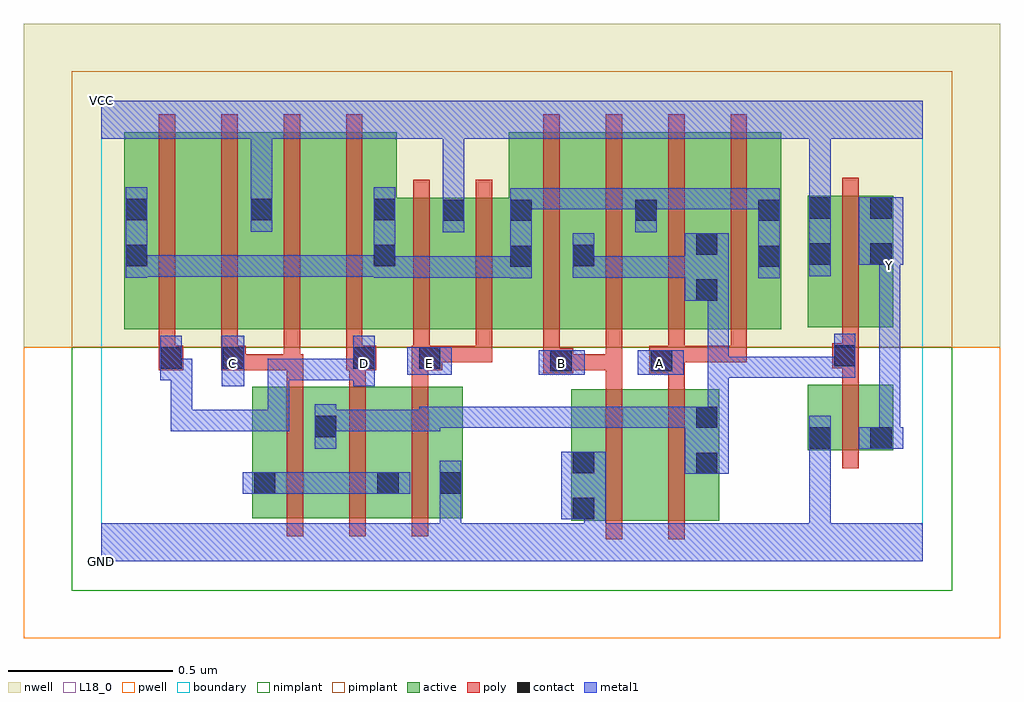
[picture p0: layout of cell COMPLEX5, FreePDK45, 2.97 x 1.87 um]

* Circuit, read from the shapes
.subckt COMPLEX5 A B C D E GND VCC Y
M1 n1 C n2 VSUBS nfet w=0.4u l=0.05u
M2 n2 D n1 VSUBS nfet w=0.4u l=0.05u
M3 GND E n2 VSUBS nfet w=0.4u l=0.05u
M4 n3 B GND VSUBS nfet w=0.4u l=0.05u
M5 n1 A n3 VSUBS nfet w=0.4u l=0.05u
M6 Y n1 GND VSUBS nfet w=0.2u l=0.05u
M7 n4 D n5 n6 pfet w=0.6u l=0.05u
M8 VCC C n4 n6 pfet w=0.6u l=0.05u
M9 n7 C VCC n6 pfet w=0.6u l=0.05u
M10 n5 D n7 n6 pfet w=0.6u l=0.05u
M11 VCC E n5 n6 pfet w=0.4u l=0.05u m=2
M12 n1 B n5 n6 pfet w=0.6u l=0.05u m=2
M13 n1 A n5 n6 pfet w=0.6u l=0.05u m=2
M14 Y n1 VCC n6 pfet w=0.4u l=0.05u
.ends

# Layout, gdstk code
import gdstk
lib = gdstk.Library(unit=1e-6, precision=1e-09)
def R(c, l, rs):  # rectangles x0, y0, x1, y1
    for r in rs: c.add(gdstk.rectangle(r[:2], r[2:], *l))
def A(c, l, x, y, w, h, nx, ny, dx, dy):  # array of equal rectangles
    R(c, l, [(x+i*dx, y+j*dy, x+i*dx+w, y+j*dy+h) for i in range(nx) for j in range(ny)])
active = (1, 0)
pwell = (2, 0)
nwell = (3, 0)
nimplant = (4, 0)
pimplant = (5, 0)
poly = (9, 0)
contact = (10, 0)
metal1 = (11, 0)
L18_0 = (18, 0)
boundary = (235, 0)

complex5 = lib.new_cell('COMPLEX5')
R(complex5, active, [(1.43,0.122,1.655,0.522), (1.43,0.122,1.505,0.522), (1.655,0.122,1.88,0.522), (0.46,0.13,0.72,0.53), (0.645,0.13,0.91,0.53), (0.835,0.13,1.1,0.53), (1.025,0.13,1.1,0.53), (0.46,0.195,0.535,0.53), (0.645,0.195,0.72,0.492), (0.835,0.195,0.91,0.492), (1.805,0.195,1.88,0.522), (2.15,0.337,2.225,0.537), (2.15,0.337,2.41,0.537), (2.335,0.337,2.41,0.537), (0.07,0.705,0.295,1.305), (0.07,0.705,0.175,1.2), (0.295,0.705,0.525,1.305), (0.45,0.705,0.675,1.305), (0.675,0.705,0.9,1.305), (0.825,0.705,0.9,1.2), (0.825,0.705,1.11,1.105), (1.035,0.705,1.315,1.105), (1.24,0.705,1.315,1.2), (1.24,0.705,1.505,1.305), (1.43,0.705,1.695,1.305), (1.43,0.705,1.505,1.07), (1.62,0.705,1.88,1.305), (1.805,0.705,2.07,1.305), (1.805,0.705,1.88,1.07), (1.995,0.705,2.07,1.2), (0.45,0.707,0.525,1.305), (1.62,0.707,1.695,1.2), (2.15,0.712,2.225,1.112), (2.15,0.712,2.41,1.112), (2.335,0.712,2.41,1.112), (1.035,0.802,1.11,1.105)])
R(complex5, pwell, [(-0.235,-0.235,2.735,0.65)])
R(complex5, nwell, [(-0.235,0.65,2.735,1.635)])
R(complex5, nimplant, [(-0.09,-0.09,2.59,0.65)])
R(complex5, pimplant, [(-0.09,0.65,2.59,1.49)])
A(complex5, poly, 0.565, 0.075, 0.05, 0.51, 3, 1, 0.19, 0)
A(complex5, poly, 0.565, 0.535, 0.05, 0.095, 3, 1, 0.19, 0)
A(complex5, poly, 0.175, 0.65, 0.05, 0.71, 4, 1, 0.19, 0)
A(complex5, poly, 1.345, 0.65, 0.05, 0.71, 4, 1, 0.19, 0)
R(complex5, poly, [(1.535,0.067,1.585,0.577), (1.725,0.067,1.775,0.577), (2.255,0.282,2.305,0.592), (1.535,0.527,1.585,0.63), (1.725,0.527,1.775,0.622), (2.255,0.542,2.305,0.637), (1.345,0.572,1.437,0.647), (1.667,0.572,1.775,0.655), (0.175,0.58,0.25,0.655), (0.365,0.58,0.44,0.655), (0.39,0.58,0.44,0.63), (0.39,0.58,0.44,0.63), (0.39,0.58,0.605,0.63), (0.555,0.58,0.605,0.7), (0.555,0.58,0.615,0.63), (0.745,0.58,0.837,0.655), (0.945,0.58,1.037,0.655), (1.387,0.58,1.585,0.63), (1.535,0.58,1.585,0.63), (1.535,0.58,1.585,0.63), (1.535,0.58,1.585,0.63), (1.535,0.58,1.585,0.7), (2.225,0.587,2.305,0.662), (1.345,0.597,1.395,0.7), (0.175,0.605,0.225,0.7), (0.365,0.605,0.415,0.7), (0.745,0.605,0.795,0.7), (0.95,0.605,1,0.7), (0.987,0.605,1.19,0.655), (1.14,0.605,1.19,0.7), (1.14,0.605,1.19,0.655), (1.14,0.605,1.19,0.655), (1.14,0.605,1.19,0.655), (1.725,0.605,1.775,0.7), (1.725,0.605,1.965,0.655), (1.915,0.605,1.965,0.7), (1.915,0.605,1.965,0.655), (1.915,0.605,1.965,0.655), (1.915,0.605,1.965,0.655), (2.255,0.612,2.305,0.707), (0.95,0.65,1,1.16), (1.14,0.65,1.19,1.16), (2.255,0.657,2.305,1.167)])
R(complex5, contact, [(1.435,0.127,1.5,0.192), (0.465,0.205,0.53,0.27), (0.84,0.205,0.905,0.27), (1.03,0.205,1.095,0.27), (1.81,0.265,1.875,0.33), (1.435,0.267,1.5,0.332), (2.155,0.342,2.22,0.407), (2.34,0.342,2.405,0.407), (0.65,0.377,0.715,0.442), (1.81,0.405,1.875,0.47), (1.367,0.577,1.432,0.642), (1.672,0.577,1.737,0.642), (0.18,0.585,0.245,0.65), (0.37,0.585,0.435,0.65), (0.767,0.585,0.832,0.65), (0.967,0.585,1.032,0.65), (2.23,0.592,2.295,0.657), (1.81,0.792,1.875,0.857), (1.245,0.895,1.31,0.96), (2,0.895,2.065,0.96), (0.075,0.897,0.14,0.962), (0.83,0.897,0.895,0.962), (1.435,0.897,1.5,0.962), (2.155,0.902,2.22,0.967), (2.34,0.902,2.405,0.967), (1.81,0.932,1.875,0.997), (1.04,1.035,1.105,1.1), (1.245,1.035,1.31,1.1), (1.625,1.035,1.69,1.1), (2,1.035,2.065,1.1), (0.075,1.037,0.14,1.102), (0.455,1.037,0.52,1.102), (0.83,1.037,0.895,1.102), (2.155,1.042,2.22,1.107), (2.34,1.042,2.405,1.107)])
R(complex5, metal1, [(0,0,2.5,0.115), (1.03,0.05,1.095,0.235), (1.47,0.05,1.535,0.192), (2.155,0.05,2.22,0.115), (2.155,0.05,2.22,0.115), (2.155,0.05,2.22,0.372), (1.4,0.127,1.535,0.332), (1.03,0.17,1.095,0.305), (0.43,0.205,0.565,0.27), (0.5,0.205,0.572,0.27), (0.507,0.205,0.572,0.27), (0.507,0.205,0.732,0.27), (0.667,0.205,0.732,0.27), (0.667,0.205,0.732,0.27), (0.667,0.205,0.732,0.27), (0.667,0.205,0.87,0.27), (0.805,0.205,0.94,0.27), (1.775,0.265,1.91,0.47), (2.155,0.307,2.22,0.372), (2.155,0.307,2.22,0.372), (2.155,0.307,2.22,0.442), (0.65,0.342,0.715,0.477), (2.305,0.342,2.44,0.407), (2.367,0.342,2.432,0.897), (0.212,0.395,0.277,0.46), (0.212,0.395,0.277,0.615), (0.212,0.395,0.435,0.46), (0.37,0.395,0.435,0.46), (0.37,0.395,0.572,0.46), (0.507,0.395,0.572,0.46), (0.507,0.395,0.572,0.615), (0.65,0.395,0.715,0.46), (0.65,0.395,0.715,0.46), (0.65,0.395,0.895,0.46), (0.83,0.395,0.895,0.46), (0.83,0.395,1.032,0.46), (0.967,0.395,1.032,0.46), (0.967,0.395,1.032,0.46), (0.967,0.395,1.032,0.47), (0.967,0.405,1.172,0.47), (1.107,0.405,1.172,0.47), (1.107,0.405,1.172,0.47), (1.107,0.405,1.172,0.47), (1.107,0.405,1.31,0.47), (1.245,0.405,1.31,0.47), (1.245,0.405,1.552,0.47), (1.487,0.405,1.552,0.47), (1.487,0.405,1.552,0.47), (1.487,0.405,1.552,0.47), (1.487,0.405,1.702,0.47), (1.637,0.405,1.702,0.47), (1.637,0.405,1.84,0.47), (1.775,0.405,1.84,0.47), (1.775,0.405,1.84,0.47), (1.845,0.405,1.91,0.622), (0.367,0.532,0.435,0.685), (0.767,0.532,0.832,0.685), (0.18,0.55,0.245,0.685), (0.18,0.55,0.277,0.615), (0.212,0.55,0.277,0.615), (0.507,0.55,0.572,0.615), (0.507,0.55,0.572,0.615), (0.507,0.55,0.572,0.615), (0.507,0.55,0.732,0.615), (0.667,0.55,0.732,0.615), (0.667,0.55,0.832,0.615), (1.845,0.557,1.91,0.622), (1.845,0.557,1.977,0.622), (1.845,0.557,1.91,0.857), (1.912,0.557,1.977,0.622), (1.912,0.557,2.157,0.622), (2.092,0.557,2.157,0.622), (2.092,0.557,2.202,0.622), (2.137,0.557,2.202,0.622), (2.137,0.557,2.295,0.622), (2.23,0.557,2.295,0.692), (0.932,0.567,1.067,0.65), (1.332,0.567,1.472,0.642), (1.632,0.567,1.772,0.642), (1.775,0.792,1.91,0.997), (2.367,0.832,2.432,0.967), (1.245,0.86,1.31,1.135), (2,0.86,2.065,1.135), (0.075,0.862,0.14,1.137), (0.83,0.862,0.895,1.137), (0.83,0.862,1.032,0.927), (0.967,0.862,1.032,0.927), (0.967,0.862,1.032,0.927), (0.967,0.862,1.032,0.927), (0.967,0.862,1.17,0.927), (1.105,0.862,1.17,0.927), (1.105,0.862,1.31,0.927), (1.435,0.862,1.5,0.927), (1.435,0.862,1.5,0.927), (1.435,0.862,1.5,0.997), (1.435,0.862,1.69,0.927), (1.625,0.862,1.69,0.927), (1.625,0.862,1.84,0.927), (1.775,0.862,1.84,0.927), (1.775,0.862,1.84,0.927), (0.075,0.865,0.14,0.93), (0.075,0.865,0.14,0.93), (0.075,0.865,0.357,0.93), (0.292,0.865,0.357,0.93), (0.292,0.865,0.382,0.93), (0.317,0.865,0.382,0.93), (0.317,0.865,0.572,0.93), (0.507,0.865,0.572,0.93), (0.507,0.865,0.572,0.93), (0.507,0.865,0.572,0.93), (0.507,0.865,0.732,0.93), (0.667,0.865,0.732,0.93), (0.667,0.865,0.732,0.93), (0.667,0.865,0.732,0.93), (0.667,0.865,0.895,0.93), (2.155,0.867,2.22,1.142), (2.305,0.902,2.44,1.107), (2.367,0.902,2.432,0.967), (1.04,1,1.105,1.135), (1.625,1,1.69,1.135), (0.455,1.002,0.52,1.137), (1.04,1.07,1.105,1.35), (1.245,1.07,1.31,1.135), (1.245,1.07,1.31,1.135), (1.245,1.07,1.31,1.135), (1.245,1.07,1.31,1.135), (1.245,1.07,1.552,1.135), (1.487,1.07,1.552,1.135), (1.487,1.07,1.552,1.135), (1.487,1.07,1.552,1.135), (1.487,1.07,1.69,1.135), (1.625,1.07,1.69,1.135), (1.625,1.07,1.69,1.135), (1.625,1.07,1.87,1.135), (1.805,1.07,1.87,1.135), (1.805,1.07,2.065,1.135), (2,1.07,2.065,1.135), (2,1.07,2.065,1.135), (0.455,1.072,0.52,1.35), (2.155,1.077,2.22,1.35), (0,1.285,2.5,1.4), (1.04,1.285,1.105,1.35), (1.04,1.285,1.105,1.35), (2.155,1.285,2.22,1.35), (2.155,1.285,2.22,1.35)])
R(complex5, L18_0, [(0,0,2.5,0.115), (1.03,0.05,1.095,0.235), (1.47,0.05,1.535,0.192), (2.155,0.05,2.22,0.115), (2.155,0.05,2.22,0.115), (2.155,0.05,2.22,0.372), (1.4,0.127,1.535,0.332), (1.03,0.17,1.095,0.305), (2.155,0.307,2.22,0.442), (2.155,0.307,2.22,0.372), (2.155,0.307,2.22,0.372), (2.305,0.342,2.44,0.407), (2.367,0.342,2.432,0.897), (0.212,0.395,0.277,0.46), (0.212,0.395,0.277,0.615), (0.212,0.395,0.435,0.46), (0.37,0.395,0.435,0.46), (0.37,0.395,0.572,0.46), (0.507,0.395,0.572,0.46), (0.507,0.395,0.572,0.615), (0.367,0.532,0.435,0.685), (0.767,0.532,0.832,0.685), (0.18,0.55,0.245,0.685), (0.18,0.55,0.277,0.615), (0.212,0.55,0.277,0.615), (0.507,0.55,0.572,0.615), (0.507,0.55,0.572,0.615), (0.507,0.55,0.572,0.615), (0.507,0.55,0.732,0.615), (0.667,0.55,0.732,0.615), (0.667,0.55,0.832,0.615), (0.367,0.567,0.432,0.632), (0.767,0.567,0.832,0.632), (0.932,0.567,1.067,0.65), (0.967,0.567,1.032,0.632), (1.332,0.567,1.472,0.642), (1.367,0.567,1.432,0.632), (1.632,0.567,1.772,0.642), (1.667,0.567,1.732,0.632), (2.367,0.832,2.432,0.967), (2.155,0.867,2.22,1.142), (2.367,0.867,2.432,0.932), (2.305,0.902,2.44,1.107), (2.367,0.902,2.432,0.967), (1.04,1,1.105,1.135), (0.455,1.002,0.52,1.137), (1.04,1.07,1.105,1.35), (0.455,1.072,0.52,1.35), (2.155,1.077,2.22,1.35), (0,1.285,2.5,1.4), (1.04,1.285,1.105,1.35), (1.04,1.285,1.105,1.35), (2.155,1.285,2.22,1.35), (2.155,1.285,2.22,1.35)])
R(complex5, boundary, [(0,0,2.5,1.4)])
complex5.add(gdstk.Label('A', (1.7,0.6), layer=11, texttype=0))
complex5.add(gdstk.Label('B', (1.4,0.6), layer=11, texttype=0))
complex5.add(gdstk.Label('C', (0.4,0.6), layer=11, texttype=0))
complex5.add(gdstk.Label('D', (0.8,0.6), layer=11, texttype=0))
complex5.add(gdstk.Label('E', (1,0.6), layer=11, texttype=0))
complex5.add(gdstk.Label('Y', (2.4,0.9), layer=11, texttype=0))
complex5.add(gdstk.Label('VCC', (0,1.4), layer=11, texttype=0))
complex5.add(gdstk.Label('GND', (0,0), layer=11, texttype=0))

lib.write_gds('COMPLEX5.gds')
